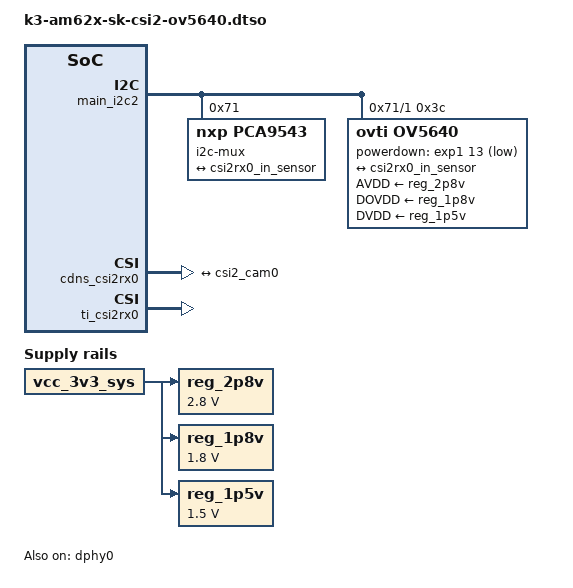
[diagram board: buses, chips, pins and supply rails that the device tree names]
// SPDX-License-Identifier: GPL-2.0-only OR MIT
/*
 * ALINX AN5641 & Digilent PCam 5C - OV5640 camera module
 * Copyright (C) 2022-2024 Texas Instruments Incorporated - https://www.ti.com/
 */

/dts-v1/;
/plugin/;

#include <dt-bindings/gpio/gpio.h>

&{/} {
	clk_ov5640_fixed: ov5640-xclk {
		compatible = "fixed-clock";
		#clock-cells = <0>;
		clock-frequency = <12000000>;
	};

	reg_2p8v: regulator-2p8v {
		compatible = "regulator-fixed";
		regulator-name = "2P8V";
		regulator-min-microvolt = <2800000>;
		regulator-max-microvolt = <2800000>;
		vin-supply = <&vcc_3v3_sys>;
		regulator-always-on;
	};

	reg_1p8v: regulator-1p8v {
		compatible = "regulator-fixed";
		regulator-name = "1P8V";
		regulator-min-microvolt = <1800000>;
		regulator-max-microvolt = <1800000>;
		vin-supply = <&vcc_3v3_sys>;
		regulator-always-on;
	};

	reg_1p5v: regulator-1p5v {
		compatible = "regulator-fixed";
		regulator-name = "1P5V";
		regulator-min-microvolt = <1500000>;
		regulator-max-microvolt = <1500000>;
		vin-supply = <&vcc_3v3_sys>;
		regulator-always-on;
	};
};

&main_i2c2 {
	#address-cells = <1>;
	#size-cells = <0>;
	status = "okay";

	i2c-mux@71 {
		compatible = "nxp,pca9543";
		#address-cells = <1>;
		#size-cells = <0>;
		reg = <0x71>;

		/* CAM port */
		i2c@1 {
			#address-cells = <1>;
			#size-cells = <0>;
			reg = <1>;

			ov5640: camera@3c {
				compatible = "ovti,ov5640";
				reg = <0x3c>;

				clocks = <&clk_ov5640_fixed>;
				clock-names = "xclk";

				AVDD-supply = <&reg_2p8v>;
				DOVDD-supply = <&reg_1p8v>;
				DVDD-supply = <&reg_1p5v>;

				powerdown-gpios = <&exp1 13 GPIO_ACTIVE_LOW>;

				port {
					csi2_cam0: endpoint {
						remote-endpoint = <&csi2rx0_in_sensor>;
						clock-lanes = <0>;
						data-lanes = <1 2>;
					};
				};
			};
		};
	};
};

&cdns_csi2rx0 {
	ports {
		#address-cells = <1>;
		#size-cells = <0>;

		csi0_port0: port@0 {
			reg = <0>;
			status = "okay";

			csi2rx0_in_sensor: endpoint {
				remote-endpoint = <&csi2_cam0>;
				bus-type = <4>; /* CSI2 DPHY. */
				clock-lanes = <0>;
				data-lanes = <1 2>;
			};
		};
	};
};

&ti_csi2rx0 {
	status = "okay";
};

&dphy0 {
	status = "okay";
};
